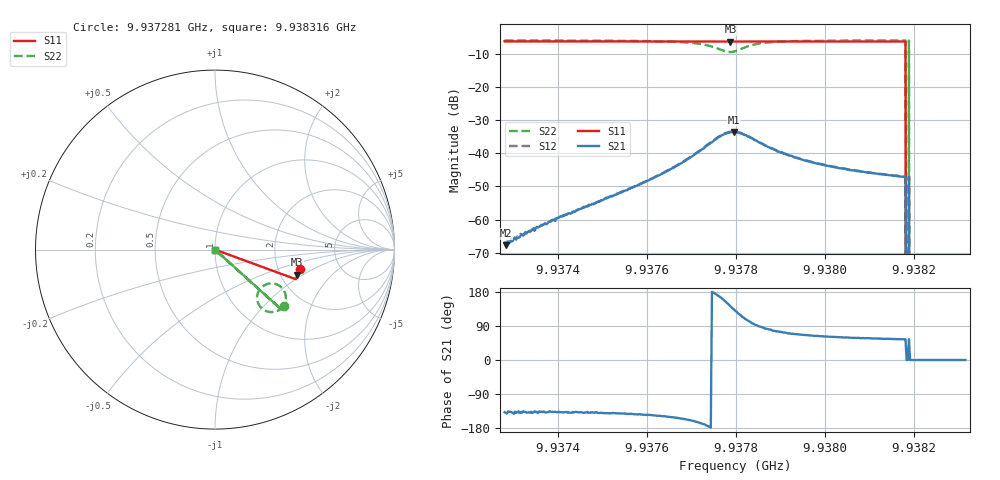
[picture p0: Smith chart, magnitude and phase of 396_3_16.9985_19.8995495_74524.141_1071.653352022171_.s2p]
#  HZ  S  RI  R  50.00
! Rohde & Schwarz Vector Network Analyzer
! Rohde-Schwarz,ZNB20-2Port,1311601062101988,3.16
! Created: UTC 3/20/2024, 11:09:51 PM
! freq[Hz]  re:S11  im:S11  re:S21  im:S21  re:S12  im:S12  re:S22  im:S22
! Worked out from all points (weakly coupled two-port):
!   401 points, 9.937281 GHz to 9.938316 GHz, reference 50 ohm
!   highest |S21| = -33.58 dB at 9.937796 GHz (marker M1); lowest = -67.7 dB at 9.937283 GHz (marker M2)
!   lowest |S11| = -6.4 dB at 9.937788 GHz (marker M3), VSWR 2.84, Z = 123 - j44.5 ohm
!   |S11| at or under -10 dB: 9.938181 GHz to end of sweep
!   |S22| runs from - to -6.1 dB; largest |S21 - S12| = 0.00087
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9.9372806e9  0.4716 -0.1071  -0.000331 -0.0003  -0.000325 -0.000229  0.3853 -0.3154
9.9372832e9  0.4716 -0.1073  -0.000314 -0.000266  -0.00032 -0.000253  0.3852 -0.3155
9.9373142e9  0.471 -0.1093  -0.000415 -0.000347  -0.00045 -0.000384  0.3828 -0.318
9.937454e9  0.468 -0.1188  -0.0011 -0.000999  -0.00113 -0.000943  0.3701 -0.3286
9.9376274e9  0.464 -0.1303  -0.00391 -0.00251  -0.00399 -0.00248  0.3376 -0.3454
9.9376792e9  0.4625 -0.134  -0.00648 -0.00306  -0.00669 -0.00301  0.314 -0.3485
9.937731e9  0.4605 -0.1373  -0.0121 -0.00205  -0.0125 -0.00173  0.2683 -0.3335
9.9377646e9  0.459 -0.1388  -0.0173 0.00421  -0.0177 0.00475  0.2352 -0.2786
9.9377879e9  0.4583 -0.1394  -0.0163 0.0127  -0.0163 0.0132  0.2548 -0.2149
9.9377957e9  0.4584 -0.1395  -0.0144 0.0152  -0.0142 0.0156  0.2739 -0.1993
9.9377983e9  0.4584 -0.1394  -0.0135 0.0157  -0.0133 0.0164  0.2813 -0.1956
9.9378552e9  0.4587 -0.1431  0.000545 0.0142  0.000854 0.0142  0.386 -0.232
9.9378966e9  0.4581 -0.1461  0.00276 0.0102  0.00299 0.0103  0.3948 -0.2684
9.9379717e9  0.4564 -0.1514  0.00317 0.00659  0.00332 0.0066  0.3889 -0.3004
9.9381451e9  0.4516 -0.1629  0.00261 0.00387  0.00273 0.00385  0.3723 -0.3289
9.9381761e9  0.4509 -0.1649  0.00254 0.00361  0.00266 0.0036  0.3696 -0.3319
9.9381813e9  0.4509 -0.1652  0.00254 0.00359  0.00262 0.00358  0.3694 -0.3324
9.9381839e9  0 0  0 0  0 0  0 0
9.9381891e9  0 0  0.00252 0.00355  0.00264 0.00354  0.3687 -0.333
9.9381943e9  0 0  0 0  0 0  0 0
9.9381969e9  0 0  0 0  0 0  0 0
9.9383159e9  0 0  0 0  0 0  0 0
